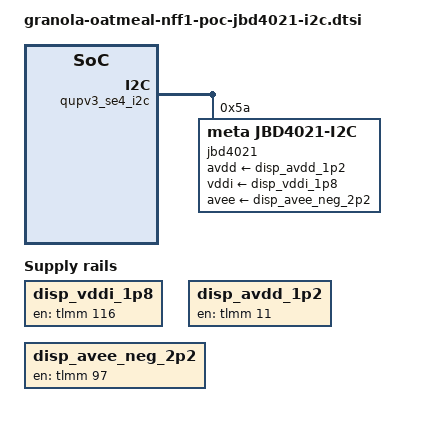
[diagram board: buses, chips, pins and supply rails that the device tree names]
&tlmm {
	disp0_pos_en: disp0_pos_en {
		mux {
			pins = "gpio11";
			function = "gpio";
		};

		config {
			pins = "gpio11";
			drive-strength = <8>;
			bias-disable;
			output-low;
		};
	};

	disp0_neg_en: disp0_neg_en {
		mux {
			pins = "gpio97";
			function = "gpio";
		};

		config {
			pins = "gpio97";
			drive-strength = <8>;
			bias-disable;
			output-low;
		};
	};

	disp0_eldo_en: disp0_eldo_en {
		mux {
			pins = "gpio116";
			function = "gpio";
		};

		config {
			pins = "gpio116";
			drive-strength = <8>;
			bias-disable;
			output-low;
		};
	};
};

&soc {
	disp_vddi_1p8: disp_vddi_1p8 {
		compatible = "regulator-fixed";
		regulator-name = "disp_vddi_1p8";
		pinctrl-names = "default";
		pinctrl-0 = <&disp0_eldo_en>;
		gpio = <&tlmm 116 GPIO_ACTIVE_HIGH>;
		enable-active-high;
		startup-delay-us = <1250>;
		status = "okay";
	};

	disp_avdd_1p2: disp_avdd_1p2 {
		compatible = "regulator-fixed";
		regulator-name = "disp_avdd_1p2";
		pinctrl-names = "default";
		pinctrl-0 = <&disp0_pos_en>;
		gpio = <&tlmm 11 GPIO_ACTIVE_HIGH>;
		enable-active-high;
		startup-delay-us = <1250>;
		status = "okay";
	};

	disp_avee_neg_2p2: disp_avee_neg_2p2 {
		compatible = "regulator-fixed";
		regulator-name = "disp_avee_neg_2p2";
		pinctrl-names = "default";
		pinctrl-0 = <&disp0_neg_en>;
		gpio = <&tlmm 97 GPIO_ACTIVE_HIGH>;
		enable-active-high;
		startup-delay-us = <1250>;
		status = "okay";
	};
};

/* Display I2C on gpio20/21 */
&qupv3_se4_i2c {
	status = "ok";
	jbd4021: jbd4021@5A {
		compatible = "meta,jbd4021-i2c";
		reg = <0x5A>;

		avdd-supply = <&disp_avdd_1p2>;
		vddi-supply = <&disp_vddi_1p8>;
		avee-supply = <&disp_avee_neg_2p2>;

		status = "okay";
	};
};
